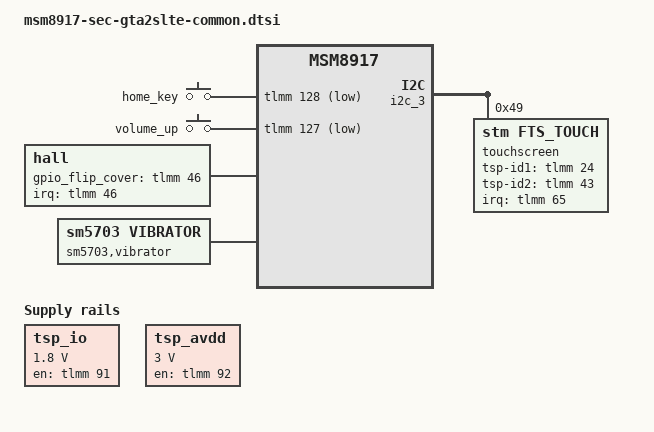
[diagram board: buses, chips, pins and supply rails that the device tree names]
/*
 * Copyright (c) 2015-2016, The Linux Foundation. All rights reserved.
 *
 * This program is free software; you can redistribute it and/or modify
 * it under the terms of the GNU General Public License version 2 and
 * only version 2 as published by the Free Software Foundation.
 *
 * This program is distributed in the hope that it will be useful,
 * but WITHOUT ANY WARRANTY; without even the implied warranty of
 * MERCHANTABILITY or FITNESS FOR A PARTICULAR PURPOSE.  See the
 * GNU General Public License for more details.
 */

/ {
	reserved-memory {
		/delete-node/ secure_region@0;
		secure_mem: secure_region@0 {
			compatible = "shared-dma-pool";
			reusable;
			alignment = <0 0x400000>;
			size = <0 0x7000000>;
		};
	};

	aliases {
		i2c0 = &i2c_0;
		i2c4 = &i2c_4;
		i2c6 = &i2c_6;
	};
};

&soc {
	gpio_keys {
		compatible = "gpio-keys";
		input-name = "gpio-keys";
		pinctrl-names = "tlmm_gpio_key_active","tlmm_gpio_key_suspend";
		pinctrl-0 = <&gpio_vol_key_active &gpio_home_key_active>;
		pinctrl-1 = <&gpio_vol_key_suspend &gpio_home_key_suspend>;

		home_key {
			label = "home_key";
			gpios = <&tlmm 128 0x1>;
			linux,input-type = <1>;
			linux,code = <KEY_HOMEPAGE>;
			gpio-key,wakeup;
			debounce-interval = <15>;
		};

		vol_up {
			label = "volume_up";
			gpios = <&tlmm 127 0x1>;
			linux,input-type = <1>;
			linux,code = <KEY_VOLUMEUP>;
			debounce-interval = <15>;
		};
	};

	hall {
		status = "okay";
		compatible = "hall";
		interrupt-parent = <&tlmm>;
		interrupts = <46 0>;
		pinctrl-names = "default", "hall_gpio_sleep";
                pinctrl-0 = <&hall_int_default>;
                pinctrl-1 = <&hall_int_sleep>;
		hall,gpio_flip_cover = <&tlmm 46 0>;
	};
	sec_smem@0 {
		compatible = "samsung,sec-smem";
		status = "okay";
	};

	sm5703,vibrator {
		compatible = "sm5703,vibrator";
		vibrator,ldo_name = "LDOOUT2";
		vibrator,ldo_volt = <3300000>;
		status = "ok";
	};

	sec_thermistor {
		compatible = "samsung,sec-ap-thermistor";
		qcom,therm-vadc = <&pm8937_vadc>;
		status = "okay";
		adc_channel = <19>;
		adc_array = <25877 26094 26344 26642 26974 27357 27848 28425 29080 29788
					30586 31443 32359 33500 34524 35657 36730 37679 38678 39430
					40163 40724 41174>;

		temp_array = <900 850 800 750 700 650 600 550 500 450
			400 350 300 250 200 150 100 50 0 (-50)
			(-100) (-150) (-200)>;
	};

	qcom,mpm@601d0 {
		qcom,gic-map = <2 216>, /* tsens_upper_lower_int */
			<49 172>, /* usb1_hs_async_wakeup_irq */
			<58 166>, /* usb_hs_irq */
			<53 104>, /* mdss_irq */
			<62 222>, /* ee0_krait_hlos_spmi_periph_irq */
			<0xff 18>,  /* APC_qgicQTmrSecPhysIrptReq */
			<0xff 19>,  /* APC_qgicQTmrNonSecPhysIrptReq */
			<0xff 20>,  /* qgicQTmrVirtIrptReq */
			<0xff 35>,  /* WDT_barkInt */
			<0xff 39>,  /* arch_mem_timer */
			<0xff 40>,  /* qtmr_phy_irq[0] */
			<0xff 47>,  /* rbif_irq[0] */
			<0xff 56>,  /* q6_wdog_expired_irq */
			<0xff 57>,  /* mss_to_apps_irq(0) */
			<0xff 58>,  /* mss_to_apps_irq(1) */
			<0xff 59>,  /* mss_to_apps_irq(2) */
			<0xff 60>,  /* mss_to_apps_irq(3) */
			<0xff 61>,  /* mss_a2_bam_irq */
			<0xff 65>,  /* o_gc_sys_irq[0] */
			<0xff 69>,  /* vbif_irpt */
			<0xff 73>,  /* smmu_intr_bus[1] */
			<0xff 74>,  /* smmu_bus_intr[2] */
			<0xff 75>,  /* smmu_bus_intr[3] */
			<0xff 76>,  /* venus_irq */
			<0xff 78>,  /* smmu_bus_intr[5] */
			<0xff 79>,  /* smmu_bus_intr[6] */
			<0xff 85>,  /* smmu_bus_intr[31] */
			<0xff 86>,  /* smmu_bus_intr[32] */
			<0xff 90>,  /* smmu_bus_intr[33] */
			<0xff 92>,  /* smmu_bus_intr[34] */
			<0xff 93>,  /* smmu_bus_intr[35] */
			<0xff 97>,  /* smmu_bus_intr[10] */
			<0xff 102>, /* smmu_bus_intr[14] */
			<0xff 108>, /* smmu_bus_intr[36] */
			<0xff 109>, /* smmu_bus_intr[37] */
			<0xff 112>, /* smmu_bus_intr[38] */
			<0xff 114>, /* qdsd_intr_out */
			<0xff 126>, /* smmu_bus_intr[39] */
			<0xff 128>, /* blsp1_peripheral_irq[3] */
			<0xff 129>, /* blsp1_peripheral_irq[4] */
			<0xff 130>, /* rotate sensor */
			<0xff 131>, /* qup_irq */
			<0xff 136>, /* smmu_bus_intr[43] */
			<0xff 137>, /* smmu_intr_bus[44] */
			<0xff 138>, /* smmu_intr_bus[45] */
			<0xff 140>, /* uart_dm_intr */
			<0xff 141>, /* smmu_bus_intr[46] */
			<0xff 142>, /* smmu_bus_intr[47] */
			<0xff 143>, /* smmu_bus_intr[48] */
			<0xff 144>, /* smmu_bus_intr[49] */
			<0xff 145>, /* smmu_bus_intr[50] */
			<0xff 146>, /* smmu_bus_intr[51] */
			<0xff 147>, /* smmu_bus_intr[52] */
			<0xff 148>, /* smmu_bus_intr[53] */
			<0xff 149>, /* smmu_bus_intr[54] */
			<0xff 150>, /* smmu_bus_intr[55] */
			<0xff 151>, /* smmu_bus_intr[56] */
			<0xff 152>, /* smmu_bus_intr[57] */
			<0xff 153>, /* smmu_bus_intr[58] */
			<0xff 155>, /* sdc1_irq(0) */
			<0xff 157>, /* sdc2_irq(0) */
			<0xff 167>, /* bam_irq(0) */
			<0xff 170>, /* sdc1_pwr_cmd_irq */
			<0xff 173>, /* o_wcss_apss_smd_hi */
			<0xff 174>, /* o_wcss_apss_smd_med */
			<0xff 175>, /* o_wcss_apss_smd_low */
			<0xff 176>, /* o_wcss_apss_smsm_irq */
			<0xff 177>, /* o_wcss_apss_wlan_data_xfer_done */
			<0xff 178>, /* o_wcss_apss_wlan_rx_data_avail */
			<0xff 179>, /* o_wcss_apss_asic_intr */
			<0xff 181>, /* o_wcss_apss_wdog_bite_and_reset_rdy */
			<0xff 188>, /* lpass_irq_out_apcs(0) */
			<0xff 189>, /* lpass_irq_out_apcs(1) */
			<0xff 190>, /* lpass_irq_out_apcs(2) */
			<0xff 191>, /* lpass_irq_out_apcs(3) */
			<0xff 192>, /* lpass_irq_out_apcs(4) */
			<0xff 193>, /* lpass_irq_out_apcs(5) */
			<0xff 194>, /* lpass_irq_out_apcs(6) */
			<0xff 195>, /* lpass_irq_out_apcs(7) */
			<0xff 196>, /* lpass_irq_out_apcs(8) */
			<0xff 197>, /* lpass_irq_out_apcs(9) */
			<0xff 198>, /* coresight-tmc-etr interrupt */
			<0xff 200>, /* rpm_ipc(4) */
			<0xff 201>, /* rpm_ipc(5) */
			<0xff 202>, /* rpm_ipc(6) */
			<0xff 203>, /* rpm_ipc(7) */
			<0xff 204>, /* rpm_ipc(24) */
			<0xff 205>, /* rpm_ipc(25) */
			<0xff 206>, /* rpm_ipc(26) */
			<0xff 207>, /* rpm_ipc(27) */
			<0xff 215>, /* o_bimc_intr[0] */
			<0xff 224>, /* SPDM interrupt */
			<0xff 239>, /* crypto_bam_irq[1]*/
			<0xff 240>, /* summary_irq_kpss */
			<0xff 253>, /* sdcc_pwr_cmd_irq */
			<0xff 260>, /* ipa_irq[0] */
			<0xff 261>, /* ipa_irq[2] */
			<0xff 262>, /* ipa_bam_irq[0] */
			<0xff 263>, /* ipa_bam_irq[2] */
			<0xff 269>, /* rpm_wdog_expired_irq */
			<0xff 270>, /* blsp1_bam_irq[0] */
			<0xff 271>, /* i2c dma */
			<0xff 272>, /* smmu_intr_bus[17] */
			<0xff 273>, /* smmu_bus_intr[18] */
			<0xff 274>, /* smmu_bus_intr[19] */
			<0xff 275>, /* rpm_ipc(30) */
			<0xff 276>, /* rpm_ipc(31) */
			<0xff 277>, /* smmu_intr_bus[20] */
			<0xff 285>, /* smmu_bus_intr[28] */
			<0xff 286>, /* smmu_bus_intr[29] */
			<0xff 287>, /* smmu_bus_intr[30] */
			<0xff 321>, /* q6ss_irq_out(4) */
			<0xff 322>, /* q6ss_irq_out(5) */
			<0xff 323>, /* q6ss_irq_out(6) */
			<0xff 325>, /* q6ss_wdog_exp_irq */
			<0xff 332>, /* i2c */
			<0xff 344>, /* sdcc1ice */
			<0xff 351>; /* trustonic */	
	};

	tsp_io: tsp_io {
		compatible = "regulator-fixed";
		regulator-name = "tsp_io";
		regulator-min-microvolt = <1800000>;
		regulator-max-microvolt = <1800000>;
		gpio = <&tlmm 91 0>;
		enable-active-high;
	};

	tsp_avdd: tsp_avdd {
		compatible = "regulator-fixed";
		regulator-name = "tsp_avdd";
		regulator-min-microvolt = <3000000>;
		regulator-max-microvolt = <3000000>;
		gpio = <&tlmm 92 0>;
		enable-active-high;
	};

	i2c_3: i2c@78b7000 { /* BLSP1 QUP3 */
		status = "ok";

		touchscreen@49 {
			compatible = "stm,fts_touch";
			reg = <0x49>;
			pinctrl-names = "on_state", "off_state", "default";
			pinctrl-0 = <&tsp_int_active &tsp_vdd_active>;
			pinctrl-1 = <&tsp_int_suspend &tsp_vdd_suspend>;
			pinctrl-2 = <&tsp_id_default &tsp_vdd_default>;
			stm,tsp-id1 = <&tlmm 24 0>;
			stm,tsp-id2 = <&tlmm 43 0>;
			stm,irq_gpio = <&tlmm 65 0>;
			stm,irq_type = <8200>;
			stm,max_coords = <1600 2560>;	/* x y */
			stm,regulator_dvdd = "tsp_io";
			stm,regulator_avdd = "tsp_avdd";
			stm,pat_function = <2>;
			stm,afe_base = <0xD782>;
			stm,project_name = "TabA2S", "T385";
			stm,firmware_name = "tsp_stm/fts8cd56_taba2s.fw";
			stm,num_touchkey = <2>;
		};
	};
};

